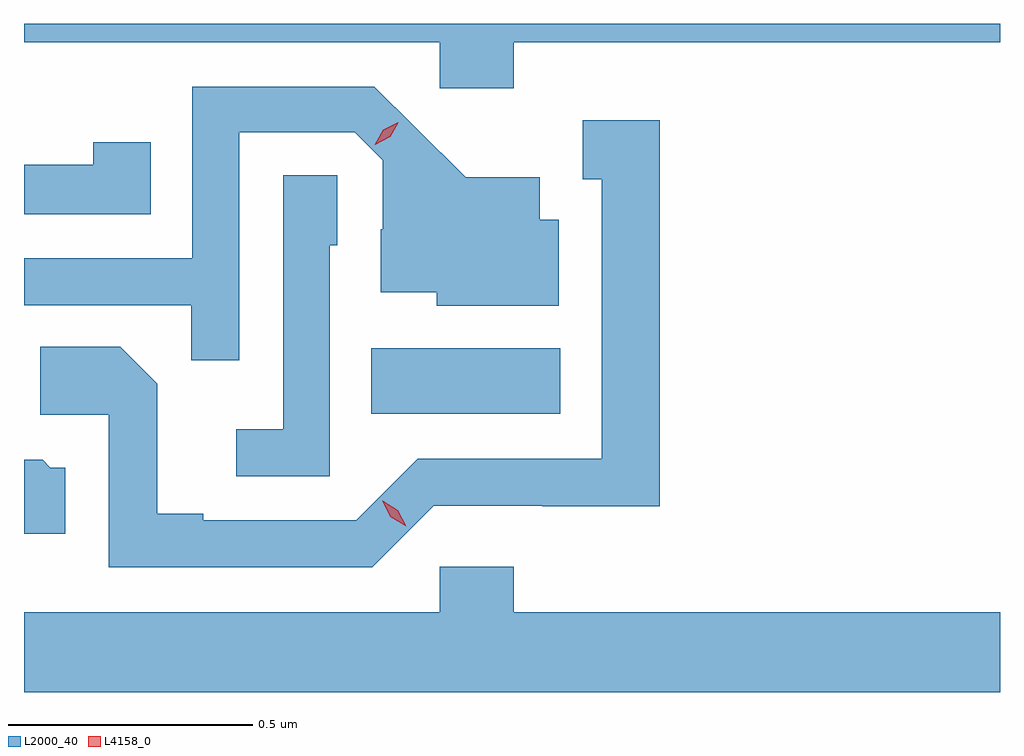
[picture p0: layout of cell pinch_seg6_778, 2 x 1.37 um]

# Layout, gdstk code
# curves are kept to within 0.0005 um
import gdstk
lib = gdstk.Library(unit=1e-6, precision=1e-09)
def R(c, l, rs):  # rectangles x0, y0, x1, y1
    for r in rs: c.add(gdstk.rectangle(r[:2], r[2:], *l))
def P(c, l, *ps):  # polygons
    for p in ps: c.add(gdstk.Polygon(p, *l))
L2000_40 = (2000, 40)
L4158_0 = (4158, 0)

pinch_seg6_778 = lib.new_cell('pinch_seg6_778')
R(pinch_seg6_778, L2000_40, [(606.454,945.242,606.841,945.376)])
P(pinch_seg6_778, L2000_40, [(606.746,946.004),(607.742,946.004),(607.742,946.041),(605.742,946.041),(605.742,946.004),(606.594,946.004),(606.594,945.909),(606.746,945.909)],
  [(606.183,945.819),(606.42,945.819),(606.477,945.762),(606.477,945.62),(606.473,945.62),(606.473,945.491),(606.588,945.491),(606.588,945.464),(606.838,945.464),(606.838,945.64),(606.799,945.64),(606.799,945.727),(606.647,945.727),(606.46,945.912),(606.087,945.912),(606.087,945.561),(605.742,945.561),(605.742,945.465),(606.085,945.465),(606.085,945.352),(606.183,945.352)],
  [(606.582,945.054),(606.804,945.054),(606.804,945.053),(607.045,945.053),(607.045,945.844),(606.887,945.844),(606.887,945.723),(606.926,945.723),(606.926,945.15),(606.549,945.15),(606.423,945.024),(606.109,945.024),(606.109,945.037),(606.015,945.037),(606.015,945.304),(605.939,945.38),(605.775,945.38),(605.775,945.24),(605.916,945.24),(605.916,944.928),(606.456,944.928)],
  [(606.002,945.799),(605.884,945.799),(605.884,945.752),(605.742,945.752),(605.742,945.651),(606.002,945.651)],
  [(606.369,945.588),(606.384,945.588),(606.384,945.731),(606.273,945.731),(606.273,945.211),(606.177,945.211),(606.177,945.114),(606.369,945.114)],
  [(605.827,945.132),(605.796,945.132),(605.78,945.148),(605.742,945.148),(605.742,944.996),(605.827,944.996)],
  [(607.742,944.836),(606.746,944.836),(606.746,944.929),(606.594,944.929),(606.594,944.836),(605.742,944.836),(605.742,944.672),(607.742,944.672)])
P(pinch_seg6_778, L4158_0, [(606.461,945.793),(606.461,945.794),(606.478,945.824),(606.509,945.84),(606.509,945.84),(606.509,945.839),(606.492,945.81),(606.462,945.793)],
  [(606.525,945.012),(606.493,945.031),(606.476,945.064),(606.476,945.064),(606.477,945.064),(606.508,945.045),(606.525,945.012),(606.525,945.012)])

lib.write_gds('pinch_seg6_778.gds')
